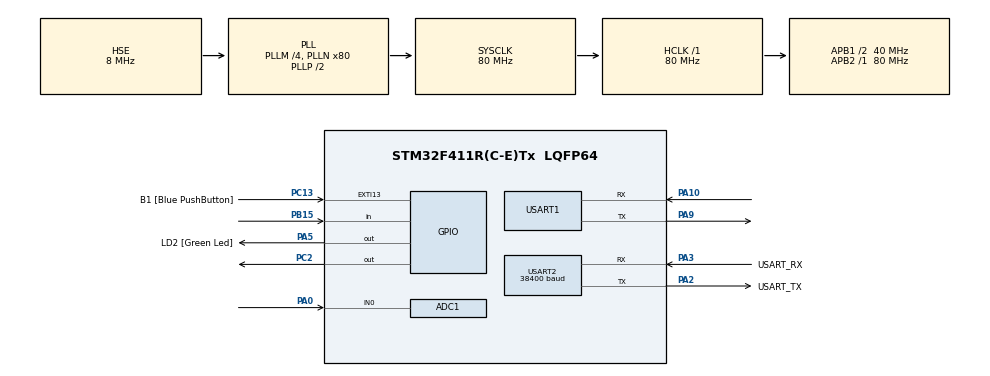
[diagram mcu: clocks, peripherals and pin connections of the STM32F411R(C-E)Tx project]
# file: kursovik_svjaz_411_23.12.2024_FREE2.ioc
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ADC1.Channel-0\#ChannelRegularConversion=ADC_CHANNEL_0
ADC1.NbrOfConversionFlag=1
ADC1.Rank-0\#ChannelRegularConversion=1
ADC1.SamplingTime-0\#ChannelRegularConversion=ADC_SAMPLETIME_3CYCLES
ADC1.master=1
Dma.ADC1.0.Direction=DMA_PERIPH_TO_MEMORY
Dma.ADC1.0.FIFOMode=DMA_FIFOMODE_DISABLE
Dma.ADC1.0.Instance=DMA2_Stream0
Dma.ADC1.0.MemDataAlignment=DMA_MDATAALIGN_HALFWORD
Dma.ADC1.0.MemInc=DMA_MINC_ENABLE
Dma.ADC1.0.Mode=DMA_NORMAL
Dma.ADC1.0.PeriphDataAlignment=DMA_PDATAALIGN_HALFWORD
Dma.ADC1.0.PeriphInc=DMA_PINC_DISABLE
Dma.ADC1.0.Priority=DMA_PRIORITY_LOW
Dma.Request0=ADC1
FREERTOS.BinarySemaphores01=myBinarySem01,Dynamic,NULL
FREERTOS.Events01=myEvent01,Dynamic,NULL
FREERTOS.Queues01=myQueue01,1,uint64_t,0,Dynamic,NULL,NULL;myQueue02,1,uint16_t,0,Dynamic,NULL,NULL
FREERTOS.Tasks01=defaultTask,24,256,StartDefaultTask,Default,NULL,Dynamic,NULL,NULL;myTask02,24,256,Receiving_Commands,Default,NULL,Dynamic,NULL,NULL;myTask03,24,256,Sensor_Reading,Default,NULL,Dynamic,NULL,NULL;myTask04,32,256,StartTask04_AutoMode,Default,NULL,Dynamic,NULL,NULL
FREERTOS.configUSE_NEWLIB_REENTRANT=1
Mcu.Family=STM32F4
Mcu.Name=STM32F411R(C-E)Tx
Mcu.Package=LQFP64
NVIC.DMA2_Stream0_IRQn=true\:5\:0\:false\:false\:true\:true\:false\:true\:true
NVIC.PriorityGroup=NVIC_PRIORITYGROUP_4
NVIC.TIM5_IRQn=true\:15\:0\:false\:false\:true\:false\:false\:true\:true
NVIC.TimeBase=TIM5_IRQn
NVIC.TimeBaseIP=TIM5
NVIC.USART1_IRQn=true\:5\:0\:false\:false\:true\:true\:true\:true\:true
PA0-WKUP.Signal=ADCx_IN0
PA10.Mode=Asynchronous
PA10.Signal=USART1_RX
PA13.GPIO_Label=TMS
PA13.Mode=Serial_Wire
PA13.Signal=SYS_JTMS-SWDIO
PA14.GPIO_Label=TCK
PA14.Mode=Serial_Wire
PA14.Signal=SYS_JTCK-SWCLK
PA2.GPIO_Label=USART_TX
PA2.Mode=Asynchronous
PA2.Signal=USART2_TX
PA3.GPIO_Label=USART_RX
PA3.Mode=Asynchronous
PA3.Signal=USART2_RX
PA5.GPIO_Label=LD2 [Green Led]
PA5.Signal=GPIO_Output
PA9.Mode=Asynchronous
PA9.Signal=USART1_TX
PB15.Signal=GPIO_Input
PB3.GPIO_Label=SWO
PB3.Signal=SYS_JTDO-SWO
PC13-ANTI_TAMP.GPIO_Label=B1 [Blue PushButton]
PC13-ANTI_TAMP.GPIO_ModeDefaultEXTI=GPIO_MODE_IT_FALLING
PC13-ANTI_TAMP.Signal=GPXTI13
PC14-OSC32_IN.Mode=LSE-External-Oscillator
PC14-OSC32_IN.Signal=RCC_OSC32_IN
PC15-OSC32_OUT.Mode=LSE-External-Oscillator
PC15-OSC32_OUT.Signal=RCC_OSC32_OUT
PC2.Signal=GPIO_Output
PH0\ -\ OSC_IN.Mode=HSE-External-Oscillator
PH0\ -\ OSC_IN.Signal=RCC_OSC_IN
PH1\ -\ OSC_OUT.Mode=HSE-External-Oscillator
PH1\ -\ OSC_OUT.Signal=RCC_OSC_OUT
ProjectManager.HeapSize=0x400
ProjectManager.StackSize=0x800
ProjectManager.TargetToolchain=STM32CubeIDE
RCC.48MHZClocksFreq_Value=40000000
RCC.AHBFreq_Value=80000000
RCC.APB1CLKDivider=RCC_HCLK_DIV2
RCC.APB1Freq_Value=40000000
RCC.APB1TimFreq_Value=80000000
RCC.APB2Freq_Value=80000000
RCC.APB2TimFreq_Value=80000000
RCC.CortexFreq_Value=80000000
RCC.FLatency-AdvancedSettings=FLASH_LATENCY_2
RCC.HCLKFreq_Value=80000000
RCC.HSE_VALUE=8000000
RCC.HSI_VALUE=16000000
RCC.PLLM=4
RCC.PLLN=80
RCC.PLLSourceVirtual=RCC_PLLSOURCE_HSE
RCC.SYSCLKFreq_VALUE=80000000
RCC.SYSCLKSource=RCC_SYSCLKSOURCE_PLLCLK
RCC.VCOOutputFreq_Value=160000000
SH.ADCx_IN0.0=ADC1_IN0,IN0
USART1.VirtualMode=VM_ASYNC
USART2.BaudRate=38400
USART2.VirtualMode=VM_ASYNC
VP_FREERTOS_VS_CMSIS_V2.Mode=CMSIS_V2
VP_SYS_VS_tim5.Mode=TIM5
VP_TIM3_VS_ClockSourceINT.Mode=Internal
board=NUCLEO-F411RE

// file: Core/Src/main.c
/* USER CODE BEGIN Header */
/**
  ******************************************************************************
  * @file           : main.c
  * @brief          : Main program body
  ******************************************************************************
  * @attention
  *
  * Copyright (c) 2023 STMicroelectronics.
  * All rights reserved.
  *
  * This software is licensed under terms that can be found in the LICENSE file
  * in the root directory of this software component.
  * If no LICENSE file comes with this software, it is provided AS-IS.
  *
  ******************************************************************************
  */
/* USER CODE END Header */
#include "main.h"
#include "cmsis_os.h"

/* USER CODE BEGIN Includes */

#include "DHT.h"
#include <stdio.h>
#include <string.h>
#include "semphr.h"

/* USER CODE END Includes */

/* USER CODE BEGIN PD */
#define BUFFER_SIZE 2

/* USER CODE END PD */

/* USER CODE BEGIN PM */
//const float k = 403;
//const float a = 388;
uint8_t flag_auto = 0;
float threshold = 0;
uint16_t rezistor = 0;

/* USER CODE END PM */

ADC_HandleTypeDef hadc1;
DMA_HandleTypeDef hdma_adc1;

TIM_HandleTypeDef htim3;

UART_HandleTypeDef huart1;
UART_HandleTypeDef huart2;

/* Definitions for defaultTask */
osThreadId_t defaultTaskHandle;
const osThreadAttr_t defaultTask_attributes = {
  .name = "defaultTask",
  .stack_size = 256 * 4,
  .priority = (osPriority_t) osPriorityNormal,
};
/* Definitions for myTask02 */
osThreadId_t myTask02Handle;
const osThreadAttr_t myTask02_attributes = {
  .name = "myTask02",
  .stack_size = 256 * 4,
  .priority = (osPriority_t) osPriorityNormal,
};
/* Definitions for myTask03 */
osThreadId_t myTask03Handle;
const osThreadAttr_t myTask03_attributes = {
  .name = "myTask03",
  .stack_size = 256 * 4,
  .priority = (osPriority_t) osPriorityNormal,
};
/* Definitions for myTask04 */
osThreadId_t myTask04Handle;
const osThreadAttr_t myTask04_attributes = {
  .name = "myTask04",
  .stack_size = 256 * 4,
  .priority = (osPriority_t) osPriorityAboveNormal,
};
/* Definitions for myQueue01 */
osMessageQueueId_t myQueue01Handle;
const osMessageQueueAttr_t myQueue01_attributes = {
  .name = "myQueue01"
};
/* Definitions for myQueue02 */
osMessageQueueId_t myQueue02Handle;
const osMessageQueueAttr_t myQueue02_attributes = {
  .name = "myQueue02"
};
/* Definitions for myBinarySem01 */
osSemaphoreId_t myBinarySem01Handle;
const osSemaphoreAttr_t myBinarySem01_attributes = {
  .name = "myBinarySem01"
};
/* Definitions for myEvent01 */
osEventFlagsId_t myEvent01Handle;
const osEventFlagsAttr_t myEvent01_attributes = {
  .name = "myEvent01"
};
/* USER CODE BEGIN PV */
//char msg[40];
//char msg2[40];

//uint8_t receive_esp2[BUFFER_SIZE];

//uint8_t msg_esp[2]; не используем вообще
//uint8_t msg_esp2[1];
//uint16_t msg_esp3[4];
//uint8_t msg_esp1;
//volatile uint8_t dataReceived = 0; // признак данное получено

/* USER CODE END PV */

void SystemClock_Config(void);
static void MX_GPIO_Init(void);
static void MX_DMA_Init(void);
static void MX_USART2_UART_Init(void);
static void MX_ADC1_Init(void);
static void MX_TIM3_Init(void);
static void MX_USART1_UART_Init(void);
void StartDefaultTask(void *argument);
void Receiving_Commands(void *argument);
void Sensor_Reading(void *argument);
void StartTask04_AutoMode(void *argument);

/* USER CODE BEGIN 0 */
//uint32_t volatile adc_raw = 0;

/* USER CODE END 0 */

int main(void)
{
  /* USER CODE BEGIN 1 */
	//DHT_sensor livingRoom = { GPIOB, GPIO_PIN_15, DHT11, GPIO_PULLUP };

  /* USER CODE END 1 */

  /* MCU Configuration--------------------------------------------------------*/

  /* Reset of all peripherals, Initializes the Flash interface and the Systick. */
  HAL_Init();

  /* Configure the system clock */
  SystemClock_Config();

  /* Initialize all configured peripherals */
  MX_GPIO_Init();
  MX_DMA_Init();
  MX_USART2_UART_Init();
  MX_ADC1_Init();
  MX_TIM3_Init();
  MX_USART1_UART_Init();
  /* USER CODE BEGIN 2 */

  //Выносим в мейн, так как эти строки выполняются один раз: старт таймера, старт АЦП
   HAL_ADC_Start(&hadc1);
   HAL_TIM_Base_Start(&htim3);
   HAL_ADC_PollForConversion(&hadc1, 10);

   //HAL_UART_Receive_IT(&huart1, receive_esp2, 2);

  /* USER CODE END 2 */

  /* Init scheduler */
  osKernelInitialize();

  /* Create the semaphores(s) */
  /* creation of myBinarySem01 */
  myBinarySem01Handle = osSemaphoreNew(1, 1, &myBinarySem01_attributes);

  /* Create the queue(s) */
  /* creation of myQueue01 */
  myQueue01Handle = osMessageQueueNew (1, sizeof(uint64_t), &myQueue01_attributes);

  /* creation of myQueue02 */
  myQueue02Handle = osMessageQueueNew (1, sizeof(uint16_t), &myQueue02_attributes);

  /* Create the thread(s) */
  /* creation of defaultTask */
  defaultTaskHandle = osThreadNew(StartDefaultTask, NULL, &defaultTask_attributes);

  /* creation of myTask02 */
  myTask02Handle = osThreadNew(Receiving_Commands, NULL, &myTask02_attributes);

  /* creation of myTask03 */
  myTask03Handle = osThreadNew(Sensor_Reading, NULL, &myTask03_attributes);

  /* creation of myTask04 */
  myTask04Handle = osThreadNew(StartTask04_AutoMode, NULL, &myTask04_attributes);

  /* Create the event(s) */
  /* creation of myEvent01 */
  myEvent01Handle = osEventFlagsNew(&myEvent01_attributes);

  /* Start scheduler */
  osKernelStart();
  /* We should never get here as control is now taken by the scheduler */
  /* Infinite loop */
  while (1)
  {

  }
}

void SystemClock_Config(void)
{
  RCC_OscInitTypeDef RCC_OscInitStruct = {0};
  RCC_ClkInitTypeDef RCC_ClkInitStruct = {0};

  /** Configure the main internal regulator output voltage
  */
  __HAL_RCC_PWR_CLK_ENABLE();
  __HAL_PWR_VOLTAGESCALING_CONFIG(PWR_REGULATOR_VOLTAGE_SCALE1);

  /** Initializes the RCC Oscillators according to the specified parameters
  * in the RCC_OscInitTypeDef structure.
  */
  RCC_OscInitStruct.OscillatorType = RCC_OSCILLATORTYPE_HSE;
  RCC_OscInitStruct.HSEState = RCC_HSE_ON;
  RCC_OscInitStruct.PLL.PLLState = RCC_PLL_ON;
  RCC_OscInitStruct.PLL.PLLSource = RCC_PLLSOURCE_HSE;
  RCC_OscInitStruct.PLL.PLLM = 4;
  RCC_OscInitStruct.PLL.PLLN = 80;
  RCC_OscInitStruct.PLL.PLLP = RCC_PLLP_DIV2;
  RCC_OscInitStruct.PLL.PLLQ = 4;
  if (HAL_RCC_OscConfig(&RCC_OscInitStruct) != HAL_OK)
  {
    Error_Handler();
  }

  /** Initializes the CPU, AHB and APB buses clocks
  */
  RCC_ClkInitStruct.ClockType = RCC_CLOCKTYPE_HCLK|RCC_CLOCKTYPE_SYSCLK
                              |RCC_CLOCKTYPE_PCLK1|RCC_CLOCKTYPE_PCLK2;
  RCC_ClkInitStruct.SYSCLKSource = RCC_SYSCLKSOURCE_PLLCLK;
  RCC_ClkInitStruct.AHBCLKDivider = RCC_SYSCLK_DIV1;
  RCC_ClkInitStruct.APB1CLKDivider = RCC_HCLK_DIV2;
  RCC_ClkInitStruct.APB2CLKDivider = RCC_HCLK_DIV1;

  if (HAL_RCC_ClockConfig(&RCC_ClkInitStruct, FLASH_LATENCY_2) != HAL_OK)
  {
    Error_Handler();
  }
}

static void MX_ADC1_Init(void)
{

  ADC_ChannelConfTypeDef sConfig = {0};

  /** Configure the global features of the ADC (Clock, Resolution, Data Alignment and number of conversion)
  */
  hadc1.Instance = ADC1;
  hadc1.Init.ClockPrescaler = ADC_CLOCK_SYNC_PCLK_DIV4;
  hadc1.Init.Resolution = ADC_RESOLUTION_12B;
  hadc1.Init.ScanConvMode = DISABLE;
  hadc1.Init.ContinuousConvMode = DISABLE;
  hadc1.Init.DiscontinuousConvMode = DISABLE;
  hadc1.Init.ExternalTrigConvEdge = ADC_EXTERNALTRIGCONVEDGE_NONE;
  hadc1.Init.ExternalTrigConv = ADC_SOFTWARE_START;
  hadc1.Init.DataAlign = ADC_DATAALIGN_RIGHT;
  hadc1.Init.NbrOfConversion = 1;
  hadc1.Init.DMAContinuousRequests = DISABLE;
  hadc1.Init.EOCSelection = ADC_EOC_SINGLE_CONV;
  if (HAL_ADC_Init(&hadc1) != HAL_OK)
  {
    Error_Handler();
  }

  /** Configure for the selected ADC regular channel its corresponding rank in the sequencer and its sample time.
  */
  sConfig.Channel = ADC_CHANNEL_0;
  sConfig.Rank = 1;
  sConfig.SamplingTime = ADC_SAMPLETIME_3CYCLES;
  if (HAL_ADC_ConfigChannel(&hadc1, &sConfig) != HAL_OK)
  {
    Error_Handler();
  }

}

static void MX_TIM3_Init(void)
{

  TIM_ClockConfigTypeDef sClockSourceConfig = {0};
  TIM_MasterConfigTypeDef sMasterConfig = {0};

  htim3.Instance = TIM3;
  htim3.Init.Prescaler = 0;
  htim3.Init.CounterMode = TIM_COUNTERMODE_UP;
  htim3.Init.Period = 65535;
  htim3.Init.ClockDivision = TIM_CLOCKDIVISION_DIV1;
  htim3.Init.AutoReloadPreload = TIM_AUTORELOAD_PRELOAD_DISABLE;
  if (HAL_TIM_Base_Init(&htim3) != HAL_OK)
  {
    Error_Handler();
  }
  sClockSourceConfig.ClockSource = TIM_CLOCKSOURCE_INTERNAL;
  if (HAL_TIM_ConfigClockSource(&htim3, &sClockSourceConfig) != HAL_OK)
  {
    Error_Handler();
  }
  sMasterConfig.MasterOutputTrigger = TIM_TRGO_RESET;
  sMasterConfig.MasterSlaveMode = TIM_MASTERSLAVEMODE_DISABLE;
  if (HAL_TIMEx_MasterConfigSynchronization(&htim3, &sMasterConfig) != HAL_OK)
  {
    Error_Handler();
  }

}

static void MX_USART1_UART_Init(void)
{

  huart1.Instance = USART1;
  huart1.Init.BaudRate = 115200;
  huart1.Init.WordLength = UART_WORDLENGTH_8B;
  huart1.Init.StopBits = UART_STOPBITS_1;
  huart1.Init.Parity = UART_PARITY_NONE;
  huart1.Init.Mode = UART_MODE_TX_RX;
  huart1.Init.HwFlowCtl = UART_HWCONTROL_NONE;
  huart1.Init.OverSampling = UART_OVERSAMPLING_16;
  if (HAL_UART_Init(&huart1) != HAL_OK)
  {
    Error_Handler();
  }

}

static void MX_USART2_UART_Init(void)
{

  huart2.Instance = USART2;
  huart2.Init.BaudRate = 38400;
  huart2.Init.WordLength = UART_WORDLENGTH_8B;
  huart2.Init.StopBits = UART_STOPBITS_1;
  huart2.Init.Parity = UART_PARITY_NONE;
  huart2.Init.Mode = UART_MODE_TX_RX;
  huart2.Init.HwFlowCtl = UART_HWCONTROL_NONE;
  huart2.Init.OverSampling = UART_OVERSAMPLING_16;
  if (HAL_UART_Init(&huart2) != HAL_OK)
  {
    Error_Handler();
  }

}

static void MX_DMA_Init(void)
{

  /* DMA controller clock enable */
  __HAL_RCC_DMA2_CLK_ENABLE();

  /* DMA interrupt init */
  /* DMA2_Stream0_IRQn interrupt configuration */
  HAL_NVIC_SetPriority(DMA2_Stream0_IRQn, 5, 0);
  HAL_NVIC_EnableIRQ(DMA2_Stream0_IRQn);

}

static void MX_GPIO_Init(void)
{
  GPIO_InitTypeDef GPIO_InitStruct = {0};

  /* GPIO Ports Clock Enable */
  __HAL_RCC_GPIOC_CLK_ENABLE();
  __HAL_RCC_GPIOH_CLK_ENABLE();
  __HAL_RCC_GPIOA_CLK_ENABLE();
  __HAL_RCC_GPIOB_CLK_ENABLE();

  /*Configure GPIO pin Output Level */
  HAL_GPIO_WritePin(GPIOC, GPIO_PIN_2, GPIO_PIN_RESET);

  /*Configure GPIO pin Output Level */
  HAL_GPIO_WritePin(LD2_GPIO_Port, LD2_Pin, GPIO_PIN_RESET);

  /*Configure GPIO pin : B1_Pin */
  GPIO_InitStruct.Pin = B1_Pin;
  GPIO_InitStruct.Mode = GPIO_MODE_IT_FALLING;
  GPIO_InitStruct.Pull = GPIO_NOPULL;
  HAL_GPIO_Init(B1_GPIO_Port, &GPIO_InitStruct);

  /*Configure GPIO pin : PC2 */
  GPIO_InitStruct.Pin = GPIO_PIN_2;
  GPIO_InitStruct.Mode = GPIO_MODE_OUTPUT_PP;
  GPIO_InitStruct.Pull = GPIO_NOPULL;
  GPIO_InitStruct.Speed = GPIO_SPEED_FREQ_LOW;
  HAL_GPIO_Init(GPIOC, &GPIO_InitStruct);

  /*Configure GPIO pin : LD2_Pin */
  GPIO_InitStruct.Pin = LD2_Pin;
  GPIO_InitStruct.Mode = GPIO_MODE_OUTPUT_PP;
  GPIO_InitStruct.Pull = GPIO_NOPULL;
  GPIO_InitStruct.Speed = GPIO_SPEED_FREQ_LOW;
  HAL_GPIO_Init(LD2_GPIO_Port, &GPIO_InitStruct);

  /*Configure GPIO pin : PB15 */
  GPIO_InitStruct.Pin = GPIO_PIN_15;
  GPIO_InitStruct.Mode = GPIO_MODE_INPUT;
  GPIO_InitStruct.Pull = GPIO_NOPULL;
  HAL_GPIO_Init(GPIOB, &GPIO_InitStruct);

}

/* USER CODE BEGIN 4 */

void HAL_UART_RxCpltCallback(UART_HandleTypeDef *huart)//если есть прерывание по Uart, поднимаем семафор
{
       BaseType_t xHigherPriorityTaskWoken=0;
  if (huart == &huart1)
  { //на все уарты вызывается один и тот же коллбэк, в него передается какой то уарт.
								// в коллбэке проверяем какой уарт. Если прием по уарту1 то.....
	  //osSemaphoreAcquire(myBinarySem01Handle, osWaitForever);
	  xSemaphoreGiveFromISR(myBinarySem01Handle, &xHigherPriorityTaskWoken);
	  portYIELD_FROM_ISR(xHigherPriorityTaskWoken); //сообщение планировщику, что только что было прерывание (и, возможно, была неучтенная планировщиком задержка)
	  //UART_Start_Receive_IT(&huart1, receive_esp2, 2);//заново запускаем прием по UART
  }
}

/* USER CODE END 4 */

void StartDefaultTask(void *argument)
{
  for(;;)
  {
    osDelay(1);
  }
}

void Receiving_Commands(void *argument)
{
  /* USER CODE BEGIN Receiving_Commands */
		uint8_t receive_esp2[BUFFER_SIZE];
		HAL_UART_Receive_IT(&huart1, receive_esp2, 2);
			uint8_t msg_esp2[1];
			//uint16_t rezistor = 0;
			uint16_t msg_esp_br[1];
			const float k = 403;
			const float a = 388;
			//float threshold = 0;
			uint16_t brightness = -1;
			//uint8_t flag_auto = 0;
  /* Infinite loop */
  for(;;)
  {
	  if(xSemaphoreTake(myBinarySem01Handle, 100)==pdPASS)  // если есть семафор, то выполняем следующий код
	  	         {

	  	    		if (receive_esp2[0] == '1') // делаем доп проверку, чтобы отбросить мусор, читаем только если придет конкретно 1 или 0
	  	    		  		{
	  	    		  			rezistor = 1;
	  	    		  			HAL_GPIO_WritePin(GPIOC, GPIO_PIN_2, rezistor); // в зависисмости от того что пришло '1' или '0', отправляем на транзистор
	  	    		  			flag_auto = 0;
	  	    		  		}
	  	    		 else if (receive_esp2[0] == '0') 	// 48 и 49- эквивалентно 1 в обоих случаях. т.е высокий уровень,
	  	    		  		{									// поэтому отправляем 0 или 1 отдельной строкой а не то что пришло
	  	    		  			rezistor = 0;
	  	    		  			HAL_GPIO_WritePin(GPIOC, GPIO_PIN_2, rezistor);
	  	    		  			flag_auto = 0;
	  	    		  		}
	  	    		 else if (receive_esp2[0] == '2')
	  	    		  		{
	  	    			        flag_auto = 1;
	  	    		  			threshold = (float)((receive_esp2[1])-'0')*k + a;
	  	    		  		}

	  	  	  	 	 UART_Start_Receive_IT(&huart1, receive_esp2, 2);//заново запускаем прием по UART
	  	  	  		}

	  	  osDelay(100);
  }
  /* USER CODE END Receiving_Commands */
}

void Sensor_Reading(void *argument)
{
  /* USER CODE BEGIN Sensor_Reading */
		uint16_t msg_esp3[4];
		uint16_t msg_esp_br[1];
		uint16_t brightness = -1;
		//uint16_t rezistor = 0;
		uint32_t volatile adc_raw = 0; //в эту переменную,  потом складывается значение ацп в удушенных енотах
		uint8_t startbyte = 0xFF;
  /* Infinite loop */
  for(;;)
  {
	  	  	  DHT_sensor livingRoom = { GPIOB, GPIO_PIN_15, DHT11, GPIO_PULLUP }; //Эта строка определяет объект датчика, который мы будем использовать,
	  	  	//и переменную, которая определяет контакт GPIO
	  	 	  DHT_data d = DHT_getData(&livingRoom);

	  	 	  		HAL_ADC_Start(&hadc1); //начать работу АЦП (адрес оператора первого АЦП)
	  	 	  		HAL_ADC_PollForConversion(&hadc1, 10); //ждем пока произойдет подсчет напряжения (арес оператора и таймаут (10 милисекунд)
	  	 	  		brightness = HAL_ADC_GetValue(&hadc1); //получение значения, которое ждали

	  	 	  		msg_esp3[0] = (uint16_t) d.temp; //данные с датчика "температрура" кладем по первому индексу в массиве
	  	 	  		msg_esp3[1] = (uint16_t) d.hum; //данные с датчика "влажность" кладем по второму индексу в массиве
	  	 	  		msg_esp3[2] = brightness;		//непосредственно данные об освещении
	  	 	  		msg_esp_br[0] = brightness;		//непосредственно данные об освещении для задачи управления авто освещением
	  	 	  		msg_esp3[3] = rezistor;	//данные с транзистора, открывают закрывают его

	  	 	  		HAL_UART_Transmit(&huart1, &startbyte, 1, 1000);	//функция читает по адресу, а не значение
	  	 	  		HAL_UART_Transmit(&huart1, (uint8_t*) msg_esp3, 8, 1000);

	  	 	  		//osMessageQueuePut(myQueue01Handle, msg_esp3, 0, osWaitForever);
	  	 	  		osMessageQueuePut(myQueue02Handle, msg_esp_br, 0, osWaitForever);

    osDelay(1000);
  }
  /* USER CODE END Sensor_Reading */
}

void StartTask04_AutoMode(void *argument)
{
  /* USER CODE BEGIN StartTask04_AutoMode */
	//uint16_t rezistor = 0;
	uint16_t brightness = -1;
	uint16_t msg_esp_br[1];
  /* Infinite loop */
  for(;;)
  {
	osMessageQueueGet(myQueue02Handle, msg_esp_br, NULL, osWaitForever);
	if(flag_auto)
	{
		brightness = msg_esp_br[0];
		rezistor = brightness > threshold;
	    HAL_GPIO_WritePin(GPIOC, GPIO_PIN_2, rezistor);
	}

    osDelay(1000);
  }
  /* USER CODE END StartTask04_AutoMode */
}

void HAL_TIM_PeriodElapsedCallback(TIM_HandleTypeDef *htim)
{
  if (htim->Instance == TIM5) {
    HAL_IncTick();
  }
}

void Error_Handler(void)
{
  __disable_irq();
  while (1)
  {
  }
}
